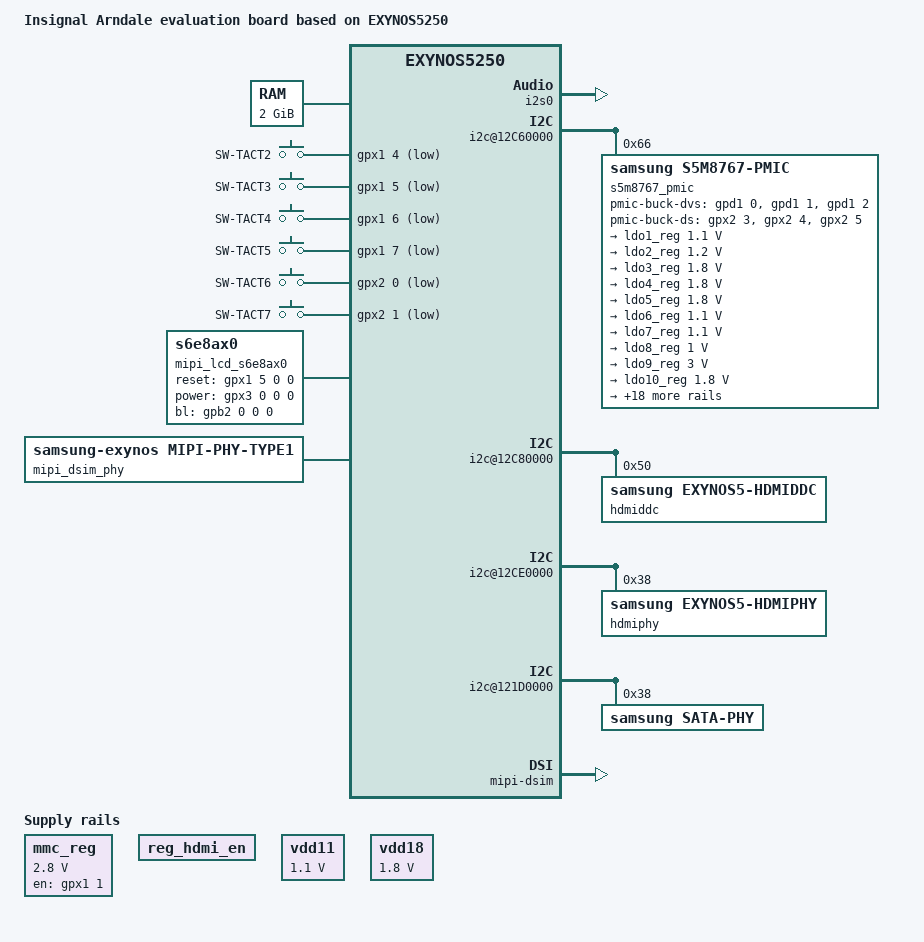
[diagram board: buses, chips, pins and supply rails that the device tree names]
/*
 * Samsung's Exynos5250 based Arndale board device tree source
 *
 * Copyright (c) 2013 Samsung Electronics Co., Ltd.
 *		http://www.samsung.com
 *
 * This program is free software; you can redistribute it and/or modify
 * it under the terms of the GNU General Public License version 2 as
 * published by the Free Software Foundation.
*/

/dts-v1/;
#include "exynos5250.dtsi"

/ {
	model = "Insignal Arndale evaluation board based on EXYNOS5250";
	compatible = "insignal,arndale", "samsung,exynos5250";

	memory {
		reg = <0x40000000 0x80000000>;
	};

	chosen {
		bootargs = "console=ttySAC2,115200";
	};

	codec@11000000 {
		samsung,mfc-r = <0x43000000 0x800000>;
		samsung,mfc-l = <0x51000000 0x800000>;
	};

	i2s0: i2s@03830000 {
		status = "okay";
	};

	i2s1: i2s@12D60000 {
		status = "disabled";
	};

	i2s2: i2s@12D70000 {
		status = "disabled";
	};

	i2s_stub: i2s-stub {
		compatible = "linux,i2s-stub";
	};

	sound {
		compatible = "samsung,smdk-i2s-stub";

		samsung,i2s-controller = <&i2s0>;
		samsung,audio-codec = <&i2s_stub>;
	};

	i2c@12C60000 {
		samsung,i2c-sda-delay = <100>;
		samsung,i2c-max-bus-freq = <20000>;
		samsung,i2c-slave-addr = <0x66>;

		s5m8767_pmic@66 {
			compatible = "samsung,s5m8767-pmic";
			reg = <0x66>;

			s5m8767,pmic-buck2-dvs-voltage = <1300000>;
			s5m8767,pmic-buck3-dvs-voltage = <1100000>;
			s5m8767,pmic-buck4-dvs-voltage = <1200000>;
			s5m8767,pmic-buck-dvs-gpios = <&gpd1 0 0>,
							<&gpd1 1 0>,
							<&gpd1 2 0>;
			s5m8767,pmic-buck-ds-gpios = <&gpx2 3 0>,
							<&gpx2 4 0>,
							<&gpx2 5 0>;
			regulators {
				ldo1_reg: LDO1 {
					regulator-name = "VDD_ALIVE_1.0V";
					regulator-min-microvolt = <1100000>;
					regulator-max-microvolt = <1100000>;
					regulator-always-on;
					regulator-boot-on;
					op_mode = <1>;
				};

				ldo2_reg: LDO2 {
					regulator-name = "VDD_28IO_DP_1.35V";
					regulator-min-microvolt = <1200000>;
					regulator-max-microvolt = <1200000>;
					regulator-always-on;
					regulator-boot-on;
					op_mode = <1>;
				};

				ldo3_reg: LDO3 {
					regulator-name = "VDD_COMMON1_1.8V";
					regulator-min-microvolt = <1800000>;
					regulator-max-microvolt = <1800000>;
					regulator-always-on;
					regulator-boot-on;
					op_mode = <1>;
				};

				ldo4_reg: LDO4 {
					regulator-name = "VDD_IOPERI_1.8V";
					regulator-min-microvolt = <1800000>;
					regulator-max-microvolt = <1800000>;
					op_mode = <1>;
				};

				ldo5_reg: LDO5 {
					regulator-name = "VDD_EXT_1.8V";
					regulator-min-microvolt = <1800000>;
					regulator-max-microvolt = <1800000>;
					regulator-always-on;
					regulator-boot-on;
					op_mode = <1>;
				};

				ldo6_reg: LDO6 {
					regulator-name = "VDD_MPLL_1.1V";
					regulator-min-microvolt = <1100000>;
					regulator-max-microvolt = <1100000>;
					regulator-always-on;
					regulator-boot-on;
					op_mode = <1>;
				};

				ldo7_reg: LDO7 {
					regulator-name = "VDD_XPLL_1.1V";
					regulator-min-microvolt = <1100000>;
					regulator-max-microvolt = <1100000>;
					regulator-always-on;
					regulator-boot-on;
					op_mode = <1>;
				};

				ldo8_reg: LDO8 {
					regulator-name = "VDD_COMMON2_1.0V";
					regulator-min-microvolt = <1000000>;
					regulator-max-microvolt = <1000000>;
					regulator-always-on;
					regulator-boot-on;
					op_mode = <1>;
				};

				ldo9_reg: LDO9 {
					regulator-name = "VDD_33ON_3.0V";
					regulator-min-microvolt = <3000000>;
					regulator-max-microvolt = <3000000>;
					op_mode = <1>;
				};

				ldo10_reg: LDO10 {
					regulator-name = "VDD_COMMON3_1.8V";
					regulator-min-microvolt = <1800000>;
					regulator-max-microvolt = <1800000>;
					regulator-always-on;
					regulator-boot-on;
					op_mode = <1>;
				};

				ldo11_reg: LDO11 {
					regulator-name = "VDD_ABB2_1.8V";
					regulator-min-microvolt = <1800000>;
					regulator-max-microvolt = <1800000>;
					regulator-always-on;
					regulator-boot-on;
					op_mode = <1>;
				};

				ldo12_reg: LDO12 {
					regulator-name = "VDD_USB_3.0V";
					regulator-min-microvolt = <3000000>;
					regulator-max-microvolt = <3000000>;
					regulator-always-on;
					regulator-boot-on;
					op_mode = <1>;
				};

				ldo13_reg: LDO13 {
					regulator-name = "VDDQ_C2C_W_1.8V";
					regulator-min-microvolt = <1800000>;
					regulator-max-microvolt = <1800000>;
					regulator-always-on;
					regulator-boot-on;
					op_mode = <1>;
				};

				ldo14_reg: LDO14 {
					regulator-name = "VDD18_ABB0_3_1.8V";
					regulator-min-microvolt = <1800000>;
					regulator-max-microvolt = <1800000>;
					regulator-always-on;
					regulator-boot-on;
					op_mode = <1>;
				};

				ldo15_reg: LDO15 {
					regulator-name = "VDD10_COMMON4_1.0V";
					regulator-min-microvolt = <1000000>;
					regulator-max-microvolt = <1000000>;
					regulator-always-on;
					regulator-boot-on;
					op_mode = <1>;
				};

				ldo16_reg: LDO16 {
					regulator-name = "VDD18_HSIC_1.8V";
					regulator-min-microvolt = <1800000>;
					regulator-max-microvolt = <1800000>;
					regulator-always-on;
					regulator-boot-on;
					op_mode = <1>;
				};

				ldo17_reg: LDO17 {
					regulator-name = "VDDQ_MMC2_3_2.8V";
					regulator-min-microvolt = <2800000>;
					regulator-max-microvolt = <2800000>;
					regulator-always-on;
					regulator-boot-on;
					op_mode = <1>;
				};

				ldo18_reg: LDO18 {
					regulator-name = "VDD_33ON_2.8V";
					regulator-min-microvolt = <2800000>;
					regulator-max-microvolt = <2800000>;
					op_mode = <1>;
				};

				ldo22_reg: LDO22 {
					regulator-name = "EXT_33_OFF";
					regulator-min-microvolt = <3300000>;
					regulator-max-microvolt = <3300000>;
					op_mode = <1>;
				};

				ldo23_reg: LDO23 {
					regulator-name = "EXT_28_OFF";
					regulator-min-microvolt = <2800000>;
					regulator-max-microvolt = <2800000>;
					op_mode = <1>;
				};

				ldo25_reg: LDO25 {
					regulator-name = "PVDD_LDO25";
					regulator-min-microvolt = <1200000>;
					regulator-max-microvolt = <1200000>;
					op_mode = <1>;
				};

				ldo26_reg: LDO26 {
					regulator-name = "EXT_18_OFF";
					regulator-min-microvolt = <1800000>;
					regulator-max-microvolt = <1800000>;
					op_mode = <1>;
				};

				buck1_reg: BUCK1 {
					regulator-name = "vdd_mif";
					regulator-min-microvolt = <950000>;
					regulator-max-microvolt = <1200000>;
					regulator-always-on;
					regulator-boot-on;
					op_mode = <1>;
				};

				buck2_reg: BUCK2 {
					regulator-name = "vdd_arm";
					regulator-min-microvolt = <925000>;
					regulator-max-microvolt = <1300000>;
					regulator-always-on;
					regulator-boot-on;
					op_mode = <1>;
				};

				buck3_reg: BUCK3 {
					regulator-name = "vdd_int";
					regulator-min-microvolt = <900000>;
					regulator-max-microvolt = <1200000>;
					regulator-always-on;
					regulator-boot-on;
					op_mode = <1>;
				};

				buck4_reg: BUCK4 {
					regulator-name = "vdd_g3d";
					regulator-min-microvolt = <1000000>;
					regulator-max-microvolt = <1000000>;
					regulator-always-on;
					regulator-boot-on;
					op_mode = <1>;
				};

				buck5_reg: BUCK5 {
					regulator-name = "VDD_MEM_1.35V";
					regulator-min-microvolt = <750000>;
					regulator-max-microvolt = <1355000>;
					regulator-always-on;
					regulator-boot-on;
					op_mode = <1>;
				};

				buck9_reg: BUCK9 {
					regulator-name = "VDD_33_OFF_EXT1";
					regulator-min-microvolt = <750000>;
					regulator-max-microvolt = <3000000>;
					op_mode = <1>;
				};
			};
		};
	};

	i2c@12C70000 {
		status = "disabled";
	};

	i2c@12C80000 {
		samsung,i2c-sda-delay = <100>;
		samsung,i2c-max-bus-freq = <66000>;

		hdmiddc@50 {
			compatible = "samsung,exynos5-hdmiddc";
			reg = <0x50>;
		};
	};

	i2c@12C90000 {
		status = "disabled";
	};

	i2c@12CA0000 {
		status = "disabled";
	};

	i2c@12CB0000 {
		status = "disabled";
	};

	i2c@12CC0000 {
		status = "disabled";
	};

	i2c@12CD0000 {
		status = "disabled";
	};

	i2c@12CE0000 {
		samsung,i2c-sda-delay = <100>;
		samsung,i2c-max-bus-freq = <66000>;

		hdmiphy@38 {
			compatible = "samsung,exynos5-hdmiphy";
			reg = <0x38>;
		};
	};

	i2c@121D0000 {
		samsung,i2c-sda-delay = <100>;
		samsung,i2c-max-bus-freq = <40000>;
		samsung,i2c-slave-addr = <0x38>;

		sata-phy {
			compatible = "samsung,sata-phy";
			reg = <0x38>;
		};
	};

	sata@122F0000 {
		samsung,sata-freq = <66>;
	};
	
	dwmmc_0: dwmmc0@12200000 {
		num-slots = <1>;
		supports-highspeed;
		broken-cd;
		fifo-depth = <0x80>;
		card-detect-delay = <200>;
		samsung,dw-mshc-ciu-div = <3>;
		samsung,dw-mshc-sdr-timing = <2 3>;
		samsung,dw-mshc-ddr-timing = <1 2>;
		vmmc-supply = <&mmc_reg>;
		pinctrl-names = "default";
		pinctrl-0 = <&sd0_clk &sd0_cmd &sd0_bus4 &sd0_bus8>;

		slot@0 {
			reg = <0>;
			bus-width = <8>;
		};
	};

	dwmmc_1: dwmmc1@12210000 {
		status = "disabled";
	};

	dwmmc_2: dwmmc2@12220000 {
		num-slots = <1>;
		supports-highspeed;
		fifo-depth = <0x80>;
		card-detect-delay = <200>;
		samsung,dw-mshc-ciu-div = <3>;
		samsung,dw-mshc-sdr-timing = <2 3>;
		samsung,dw-mshc-ddr-timing = <1 2>;
		vmmc-supply = <&mmc_reg>;
		pinctrl-names = "default";
		pinctrl-0 = <&sd2_clk &sd2_cmd &sd2_cd &sd2_bus4>;

		slot@0 {
			reg = <0>;
			bus-width = <4>;
			disable-wp;
		};
	};

	dwmmc_3: dwmmc3@12230000 {
		status = "disabled";
	};

	spi_0: spi@12d20000 {
		status = "disabled";
	};

	spi_1: spi@12d30000 {
		status = "disabled";
	};

	spi_2: spi@12d40000 {
		status = "disabled";
	};

	gpio_keys {
		compatible = "gpio-keys";

		menu {
			label = "SW-TACT2";
			gpios = <&gpx1 4 1>;
			linux,code = <139>;
			gpio-key,wakeup;
		};

		home {
			label = "SW-TACT3";
			gpios = <&gpx1 5 1>;
			linux,code = <102>;
			gpio-key,wakeup;
		};

		up {
			label = "SW-TACT4";
			gpios = <&gpx1 6 1>;
			linux,code = <103>;
			gpio-key,wakeup;
		};

		down {
			label = "SW-TACT5";
			gpios = <&gpx1 7 1>;
			linux,code = <108>;
			gpio-key,wakeup;
		};

		back {
			label = "SW-TACT6";
			gpios = <&gpx2 0 1>;
			linux,code = <158>;
			gpio-key,wakeup;
		};

		wakeup {
			label = "SW-TACT7";
			gpios = <&gpx2 1 1>;
			linux,code = <143>;
			gpio-key,wakeup;
		};
	};

	hdmi {
		hpd-gpio = <&gpx3 7 2>;
		vdd_osc-supply = <&ldo10_reg>;
		vdd_pll-supply = <&ldo8_reg>;
		vdd-supply = <&ldo8_reg>;
	};

	mmc_reg: voltage-regulator {
		compatible = "regulator-fixed";
		regulator-name = "VDD_33ON_2.8V";
		regulator-min-microvolt = <2800000>;
		regulator-max-microvolt = <2800000>;
		gpio = <&gpx1 1 1>;
		enable-active-high;
	};

	reg_hdmi_en: fixedregulator@0 {
		compatible = "regulator-fixed";
		regulator-name = "hdmi-en";
	};

	usb@12110000 {
		hub-reset = <&gpx3 5 1>;
		hub-connect = <&gpd1 7 1>;
	};

	vdd11:fixed-regulator@0 {
		compatible = "regulator-fixed";
		regulator-name = "vdd11-supply";
		regulator-min-microvolt = <1100000>;
		regulator-max-microvolt = <1100000>;
		regulator-always-on;
	};

	vdd18:fixed-regulator@1 {
		compatible = "regulator-fixed";
		regulator-name = "vdd18-supply";
		regulator-min-microvolt = <1800000>;
		regulator-max-microvolt = <1800000>;
		regulator-always-on;
	};

	fixed-rate-clocks {
		xxti {
			compatible = "samsung,clock-xxti";
			clock-frequency = <24000000>;
		};
	};

	dp-controller {
		samsung,color-space = <0>;
		samsung,dynamic-range = <0>;
		samsung,ycbcr-coeff = <0>;
		samsung,color-depth = <1>;
		samsung,link-rate = <0x0a>;
		samsung,lane-count = <4>;

		pinctrl-names = "default";
		pinctrl-0 = <&dp_hpd>;
		lcd_bl_gpio = <&gpb2 0 1>;
		lcd_en_gpio = <&gpx1 5 1>;
	};

	fimd: fimd@14400000 {
		display-timings {
			native-mode = <&timing0>;
			timing0: timing@0 {
				/* 2560x1600 DP panel */
				clock-frequency = <266000000>;
				hactive = <2560>;
				vactive = <1600>;
				hfront-porch = <48>;
				hback-porch = <80>;
				hsync-len = <32>;
				vback-porch = <16>;
				vfront-porch = <8>;
				vsync-len = <6>;
			};
		timing1: timing@1 {
				/* 800x1280 */
				clock-frequency = <266000000>;
				hactive = <800>;
				vactive = <1280>;
				hfront-porch = <11>;
				hback-porch = <3>;
				hsync-len = <2>;
				vback-porch = <11>;
				vfront-porch = <3>;
				vsync-len = <2>;
			};
		};
	};

	lcd_mipi_dsi_s6e8ax0: lcd_panel_s6e8ax0 {
		lcd-htiming = <11 3 2 800>;
		lcd-vtiming = <11 3 2 1280>;
	};

	mipi_lcd_s6e8ax0: mipi-lcd@s6e8ax0 {
		compatible = "s6e8ax0";
		lcd-name = "s6e8ax0";
		lcd_enabled = <1>;
		reset-delay = <50>;
		power-on-delay = <120>;
		power-off-delay = <200>;
		gpio-reset = <&gpx1 5 0 0 0>;
		gpio-power = <&gpx3 0 0 0 0>;
		gpio-bl = <&gpb2 0 0 0 0>;
	};

	mipi_dsim_phy: mipi-phy@exynos5250 {
		compatible = "samsung-exynos,mipi-phy-type1";
		reg_enable_dphy = <0x10040714>;
		mask_enable_dphy = <0x00000001>;
		reg_reset_dsim = <0x10040714>;
		mask_reset_dsim = <0x00000004>;
	};

	mipi-dsim {
		status = "okay";
		mipi-lcd = <&mipi_lcd_s6e8ax0>;
		mipi-phy = <&mipi_dsim_phy>;
		enabled = <0>;
		panel-info = <&lcd_mipi_dsi_s6e8ax0>;
		vdd11-supply = <&vdd11>;
		vdd18-supply = <&vdd18>;
		vdd3-supply = <&vdd18>;
		vci-supply = <&vdd18>;

		mipi-config {
			e_interface = <1>;
			e_pixel_format = <7>;
			auto_flush = <0>;
			eot_disable = <0>;
			auto_vertical_cnt = <0>;
			hse = <0>;
			hfp = <0>;
			hbp = <0>;
			hsa = <0>;
			e_no_data_lane = <3>;
			e_byte_clk = <0>;
			e_burst_mode = <1>;
			p = <3>;
			m = <115>;
			s = <1>;
			pll_stable_time = <500>;
			esc_clk = <7000000>;
			stop_holding_cnt =<0x0fff>;
			bta_timeout = <0xff>;
			rx_timeout = <0xffff>;
			e_virtual_ch = <0>;
			cmd_allow = <0x1>;
		};
	};

	rtc {
		status = "okay";
	};
};
